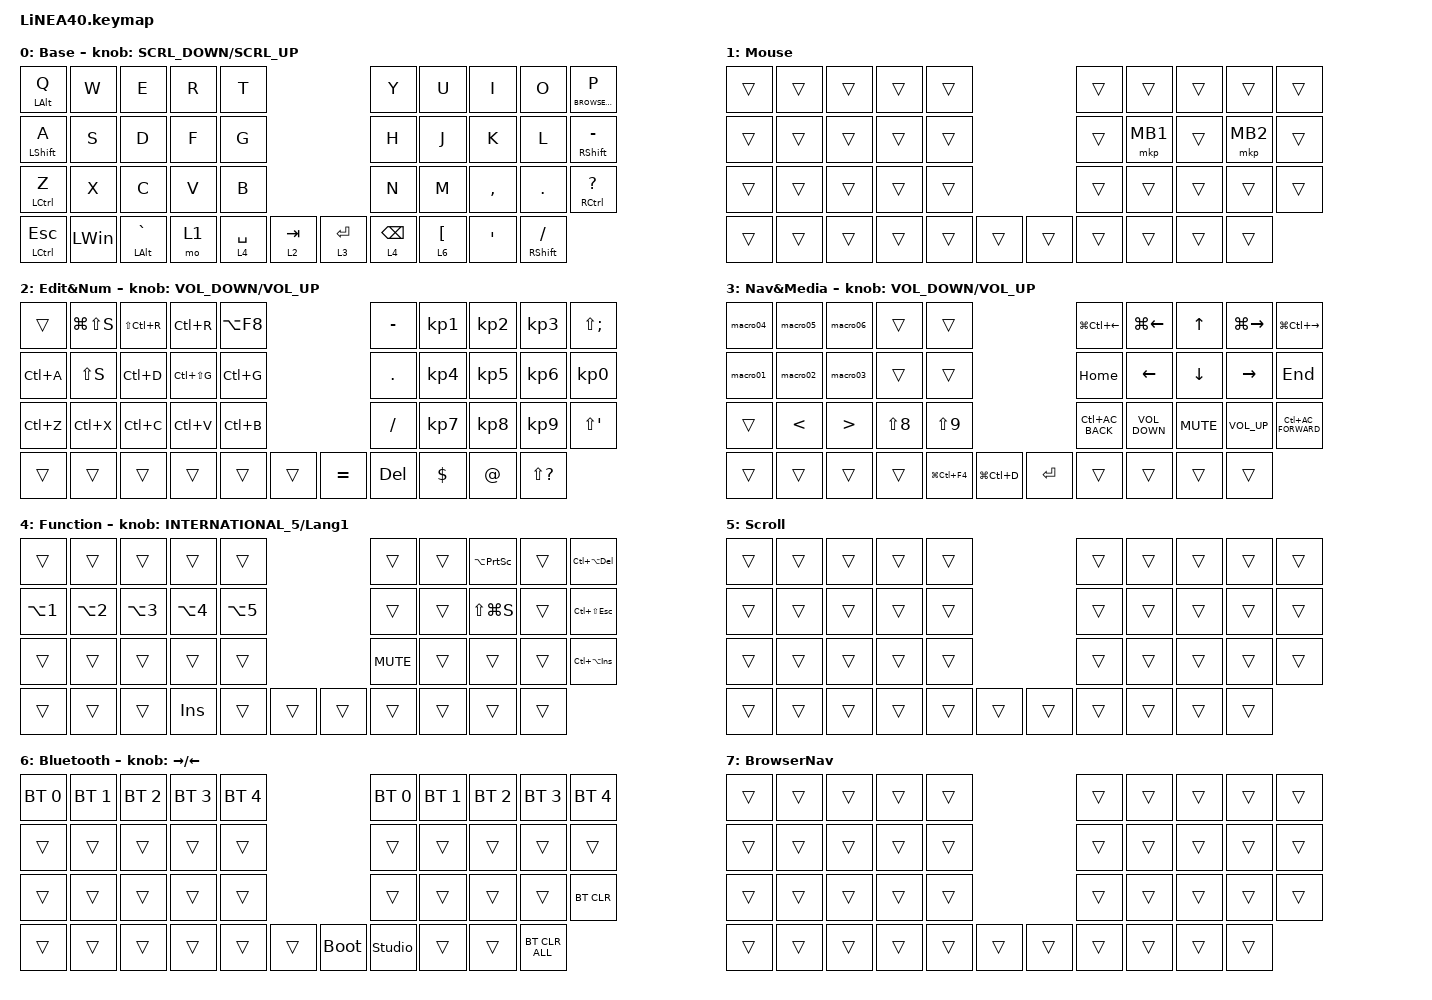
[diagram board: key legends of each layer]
#define ZMK_POINTING_DEFAULT_SCRL_VAL 150

#include <dt-bindings/zmk/input_transform.h>
#include <input/processors.dtsi>
#include <zephyr/dt-bindings/input/input-event-codes.h>
#include <behaviors.dtsi>
#include <dt-bindings/zmk/bt.h>
#include <dt-bindings/zmk/keys.h>
#include <dt-bindings/zmk/pointing.h>

#define BASE        0
#define MOUSE       1
#define MARK        2
#define CURSOR      3
#define FUNCTION    4
#define SCROLL      5
#define WIRELESS    6
#define BROWSER_NAV 7

// ─────────────────────────────────────────────────────────────
// キー番号メモ（positional hold-tap で使用）
// 左手:  0  1  2  3  4 / 10 11 12 13 14 / 20 21 22 23 24 / 30 31 32 33 34 35
// 右手:  5  6  7  8  9 / 15 16 17 18 19 / 25 26 27 28 29 / 36 37 38 39 40
// ─────────────────────────────────────────────────────────────
//mouse cursor

&mmv {
    delay-ms = <20>;
    trigger-period-ms = <5>;
    time-to-max-speed-ms = <100>;
    acceleration-exponent = <2>;
};

//mouse scroll

&msc {
    delay-ms = <3>;
    trigger-period-ms = <3>;
    time-to-max-speed-ms = <100>;
    acceleration-exponent = <0>;
};

//mod-tap (グローバル設定。実際の左右ホームロウは下の hrml / hrmr を使用)

&mt {
    flavor = "tap-preferred";
    tapping-term-ms = <200>;
    quick-tap-ms = <175>;
    require-prior-idle-ms = <200>;   // 150 → 200 に強化（誤 hold 抑制）
};

//layer-tap (親指キー Space/Tab/Enter/BS/[) ───────────────────
//  【方針変更】以前は誤発火防止のため tap-preferred + 長め tapping-term
//  にしていたが、その結果「親指でレイヤーに入れない（タップが送られる）」
//  という逆の問題が出ていた。
//  → hold-preferred に変更し、他キーが押された瞬間にレイヤーが確定
//    するようにする。tapping-term も短くしてホールド判定を高速化。
//  ※暴発が再発する場合は flavor を "balanced" に戻すと中間挙動になる。

&lt {
    flavor = "hold-preferred";       // tap-preferred → hold-preferred（レイヤー優先）
    tapping-term-ms = <200>;         // 300 → 200（ホールド判定を早める）
    quick-tap-ms = <150>;            // 300 → 150（連打タップは許容）
    require-prior-idle-ms = <0>;     // 300 → 0（直前に入力があってもホールド可）
};

/ {
    input_processors {
        zip_wheel_scaler: zip_wheel_scaler {
            compatible = "zmk,input-processor-scaler";
            #input-processor-cells = <2>;
            type = <INPUT_EV_REL>;
            codes = <INPUT_REL_WHEEL>;
            track-remainders;
        };
    };
};

&msc_input_listener {
    speed_up {
        layers = <FUNCTION>;
        input-processors = <&zip_wheel_scaler 3 1>; //スクロールを3倍速にする
    };
};

&trackball_listener {
    scroller {
        layers = <SCROLL>;
        input-processors =
            <&zip_xy_transform INPUT_TRANSFORM_Y_INVERT>,
            //スクロール方向を逆転,,,,,
            <&zip_xy_to_scroll_mapper>;
    };

    // P を長押し中だけ有効化されるブラウザ「戻る／進む」レイヤー
    //   X 軸（左右） → 水平ホイールに変換 → ブラウザの戻る/進むに割り当てられる
    //   Y 軸（上下） → ゼロ倍率で無効化（誤動作防止）

    browser_nav {
        layers = <BROWSER_NAV>;
        input-processors = <&zip_y_scaler 0 1>, <&zip_xy_to_scroll_mapper>;
    };
};

/ {
    combos {
        compatible = "zmk,combos";

        // ZenkakuHankaku (TAB + ENTER 親指同時押し → 半角/全角)
        //   親指の同時押しはタイミングが揃いにくいので 75ms に広げる。
        //   IME 変換中の TAB→ENTER 連続入力にも影響しないよう
        //   require-prior-idle-ms は付けない。

        ZenkakuHankaku {
            timeout-ms = <100>;
            bindings = <&kp GRAVE>;
            key-positions = <36 35>;
        };

        // DeleteKey (DEL = 前方向削除)
        //   J(16)+K(17) は MOUSE レイヤーの中クリック(MB3)コンボと位置が重なる。
        //   layers = <BASE MARK CURSOR FUNCTION SCROLL WIRELESS BROWSER_NAV>
        //   で MOUSE レイヤーを除外し、MOUSE 時は CenterClick 側だけが発火する
        //   ように切り分けている。

        DeleteKey {
            timeout-ms = <150>;
            bindings = <&kp DEL>;
            key-positions = <16 17>;
            layers = <BASE MARK CURSOR FUNCTION SCROLL WIRELESS BROWSER_NAV>;
        };

        scroll_combo {
            timeout-ms = <100>;
            key-positions = <18 19>;
            bindings = <&mo SCROLL>;
            slow-release;
        };

        // ===== トラックボール用クリックコンボ (MOUSE レイヤー専用) =====
        //   layers = <MOUSE> でデフォルトレイヤーでは絶対に発火しない
        //     → "him,", ",.", "jk" 等の通常タイピングで誤爆ゼロ
        //   require-prior-idle-ms = <0> でトラックボール移動中でも発火可能
        //   slow-release でキーを離すまでボタン押下を維持 → ドラッグ対応

        CenterClick {
            bindings = <&mkp MB3>;
            key-positions = <16 17>;          // J + K
            layers = <MOUSE>;
            timeout-ms = <50>;
            require-prior-idle-ms = <0>;
            slow-release;
        };

        // M + , (左寄り) = 戻る (MB4)
        //   ブラウザの戻るボタンの慣例的な左側配置に合わせている

        PrevClick {
            bindings = <&mkp MB4>;
            key-positions = <26 27>;          // M + ,
            layers = <MOUSE>;
            timeout-ms = <50>;
            require-prior-idle-ms = <0>;
            slow-release;
        };

        // , + . (右寄り) = 進む (MB5)

        ClickNext {
            bindings = <&mkp MB5>;
            key-positions = <27 28>;          // , + .
            layers = <MOUSE>;
            timeout-ms = <50>;
            require-prior-idle-ms = <0>;
            slow-release;
        };
    };

    behaviors {
        re_kp: sensor_rotate_kp {
            compatible = "zmk,behavior-sensor-rotate-var";
            #sensor-binding-cells = <2>;
            bindings = <&kp>, <&kp>;
        };

        mouse_scrl: mouse_wheel_scrl {
            compatible = "zmk,behavior-sensor-rotate-var";
            #sensor-binding-cells = <2>;
            bindings = <&msc>, <&msc>;

            tap-ms = <20>;
        };

        // ──────────────────────────────────────────────────────────
        // 左手ホームロウモッド (Q=LAlt / A=LShift / Z=LCtrl 等)
        // hold が成立するのは「右手のキーが押されたとき」だけ
        //   → 同手ロール (例: za, qw, az) で Ctrl/Shift/Alt が暴発しない
        // ──────────────────────────────────────────────────────────

        hrml: home_row_mod_left {
            compatible = "zmk,behavior-hold-tap";
            #binding-cells = <2>;
            flavor = "tap-preferred";
            tapping-term-ms = <250>;
            quick-tap-ms = <200>;
            require-prior-idle-ms = <200>;
            hold-trigger-key-positions = <5 6 7 8 9 15 16 17 18 19 25 26 27 28 29 36 37 38 39 40>;
            hold-trigger-on-release;
            bindings = <&kp>, <&kp>;
        };

        // 右手ホームロウモッド (P / - / ? / / 等) — 反対側 (左手) で hold 成立

        hrmr: home_row_mod_right {
            compatible = "zmk,behavior-hold-tap";
            #binding-cells = <2>;
            flavor = "tap-preferred";
            tapping-term-ms = <250>;
            quick-tap-ms = <200>;
            require-prior-idle-ms = <200>;
            hold-trigger-key-positions = <0 1 2 3 4 10 11 12 13 14 20 21 22 23 24 30 31 32 33 34 35>;
            hold-trigger-on-release;
            bindings = <&kp>, <&kp>;
        };

        // P 専用 hold-tap（修正版）：
        //   旧設定は flavor = "hold-preferred" + tapping-term 150ms で
        //   Romaji 入力中の "p" がわずかでも滞留すると BROWSER_NAV が走り、
        //   その後トラックボールに触れるとブラウザが戻る/進む → 入力位置が飛ぶ。
        //   tap-preferred + tapping-term 250ms + require-prior-idle 175ms に
        //   変更して、明示的に長押ししたときだけナビレイヤーが起動するようにする。

        pnav: p_nav_holdtap {
            compatible = "zmk,behavior-hold-tap";
            #binding-cells = <2>;
            flavor = "tap-preferred";
            tapping-term-ms = <250>;
            quick-tap-ms = <175>;
            require-prior-idle-ms = <175>;
            bindings = <&mo>, <&kp>;
        };
    };

    macros {
        macro01: macro01 {
            compatible = "zmk,behavior-macro";
            #binding-cells = <0>;
            bindings = <&kp LS(I) &kp LS(Q) &kp LS(V) &kp LS(I) &kp LS(A)>;
            label = "MACRO01";
        };

        macro02: macro02 {
            compatible = "zmk,behavior-macro";
            #binding-cells = <0>;
            bindings = <&kp LS(C) &kp LS(S) &kp LS(M) &kp LS(S)>;
            label = "MACRO02";
        };

        macro03: macro03 {
            compatible = "zmk,behavior-macro";
            #binding-cells = <0>;
            bindings = <&kp LS(M) &kp E &kp D &kp LS(T) &kp E &kp C &kp H &kp KP_NUMBER_2>;
            label = "MACRO03";
        };

        macro04: macro04 {
            compatible = "zmk,behavior-macro";
            #binding-cells = <0>;
            bindings = <&kp LS(A) &kp LS(S) &kp SPACE &kp LS(C) &kp O &kp N &kp N &kp E &kp C &kp T>;
            label = "MACRO04";
        };

        macro05: macro05 {
            compatible = "zmk,behavior-macro";
            #binding-cells = <0>;
            bindings = <&kp LS(S) &kp LS(H) &kp LS(D) &kp SPACE &kp LS(E) &kp C &kp H &kp O &kp SPACE &kp LS(L) &kp A &kp B &kp DOT>;
            label = "MACRO05";
        };

        macro06: macro06 {
            compatible = "zmk,behavior-macro";
            #binding-cells = <0>;
            bindings = <&kp KP_NUMBER_1 &kp O &kp N &kp KP_NUMBER_1>;
            label = "MACRO06";
        };
    };

    keymap {
        compatible = "zmk,keymap";

        // 0: ベースレイヤー
        //   左親指 4 (位置 33) を &kp DEL → &mo 1 に変更し、MOUSE レイヤーを
        //   手動で呼び出せるようにした (左親指を押している間のみ有効)。
        //   DEL は MARK レイヤーの位置 37 や DeleteKey コンボ (J+K) で代用可能。

        default_layer {
            display-name = "Base";
            bindings = <
&hrml LEFT_ALT Q      &kp W         &kp E                 &kp R    &kp T                                  &kp Y            &kp U  &kp I               &kp O    &pnav BROWSER_NAV P
&hrml LEFT_SHIFT A    &kp S         &kp D                 &kp F    &kp G                                  &kp H            &kp J  &kp K               &kp L    &hrmr RIGHT_SHIFT MINUS
&hrml LEFT_CONTROL Z  &kp X         &kp C                 &kp V    &kp B                                  &kp N            &kp M  &kp COMMA           &kp DOT  &hrmr RIGHT_CONTROL QMARK
&hrml LCTRL ESC       &kp LEFT_WIN  &hrml LEFT_ALT GRAVE  &mo 1    &lt 4 SPACE  &lt 2 TAB    &lt 3 ENTER  &lt 4 BACKSPACE         &lt 6 LEFT_BRACKET  &kp SQT  &hrmr RIGHT_SHIFT SLASH
            >;

            sensor-bindings = <&mouse_scrl SCRL_DOWN SCRL_UP>;
        };

        // 1: マウスクリック
        //   左親指の &mo 1 を押している間だけ MOUSE レイヤーが有効
        //   J 単体 = 左クリック (MB1), L 単体 = 右クリック (MB2)
        //   J+K = 中クリック (MB3), M+, = 戻る (MB4), ,+. = 進む (MB5)
        //
        //   【auto-mouse-layer との関係】
        //   シールド側で auto-mouse-layer (トラックボール動作で自動 ON) を
        //   有効にしている場合、手のひらがトラックボールに触れた瞬間に
        //   このレイヤーが ON → J/L が押されると誤クリックする可能性あり。
        //   その挙動が問題になる場合は auto-mouse-layer を無効化 (シールドの
        //   .conf で CONFIG_ZMK_POINTING_DEFAULT_MOUSE_LAYER 関連、または
        //   shield overlay の auto-layer 設定) し、&mo 1 の手動切替だけで
        //   運用する設計に統一することを推奨。

        MOUSE {
            display-name = "Mouse";
            bindings = <
&trans  &trans  &trans  &trans  &trans                    &trans  &trans     &trans  &trans     &trans
&trans  &trans  &trans  &trans  &trans                    &trans  &mkp MB1   &trans  &mkp MB2   &trans
&trans  &trans  &trans  &trans  &trans                    &trans  &trans     &trans  &trans     &trans
&trans  &trans  &trans  &trans  &trans  &trans    &trans  &trans             &trans  &trans     &trans
            >;
        };

        // 2: 編集 / 数字

        MARK {
            display-name = "Edit&Num";
            bindings = <
&trans     &kp LG(LS(S))  &kp LS(LC(R))  &kp LC(R)      &kp LA(F8)                       &kp MINUS  &kp KP_NUMBER_1  &kp KP_NUMBER_2  &kp KP_NUMBER_3  &kp LS(SEMI)
&kp LC(A)  &kp LS(S)      &kp LC(D)      &kp LC(LS(G))  &kp LC(G)                        &kp DOT    &kp KP_NUMBER_4  &kp KP_NUMBER_5  &kp KP_NUMBER_6  &kp KP_NUMBER_0
&kp LC(Z)  &kp LC(X)      &kp LC(C)      &kp LC(V)      &kp LC(B)                        &kp SLASH  &kp KP_NUMBER_7  &kp KP_NUMBER_8  &kp KP_NUMBER_9  &kp LS(SQT)
&trans     &trans         &trans         &trans         &trans      &trans    &kp EQUAL  &kp DEL                     &kp DOLLAR       &kp AT           &kp LS(QUESTION)
            >;

            sensor-bindings = <&re_kp C_VOLUME_DOWN C_VOLUME_UP>;
        };

        // 3: カーソル / メディア / マクロ

        CURSOR {
            display-name = "Nav&Media";
            bindings = <
&macro04  &macro05       &macro06          &trans      &trans                                      &kp LG(LC(LEFT_ARROW))  &kp LG(LEFT_ARROW)  &kp UP_ARROW    &kp LG(RIGHT_ARROW)  &kp LG(LC(RIGHT))
&macro01  &macro02       &macro03          &trans      &trans                                      &kp HOME                &kp LEFT_ARROW      &kp DOWN_ARROW  &kp RIGHT_ARROW      &kp END
&trans    &kp LESS_THAN  &kp GREATER_THAN  &kp LS(N8)  &kp LS(N9)                                  &kp LC(C_AC_BACK)       &kp C_VOLUME_DOWN   &kp C_MUTE      &kp C_VOLUME_UP      &kp LC(C_AC_FORWARD)
&trans    &trans         &trans            &trans      &kp LG(LC(F4))  &kp LG(LC(D))    &kp ENTER  &trans                                      &trans          &trans               &trans
            >;

            sensor-bindings = <&inc_dec_kp C_VOLUME_DOWN C_VOLUME_UP>;
        };

        // 4: ファンクション

        FUNCTION {
            display-name = "Function";
            bindings = <
&trans            &trans            &trans            &trans            &trans                              &trans      &trans  &kp LA(PRINTSCREEN)  &trans  &kp LC(LA(DELETE))
&kp LA(NUMBER_1)  &kp LA(NUMBER_2)  &kp LA(NUMBER_3)  &kp LA(NUMBER_4)  &kp LA(NUMBER_5)                    &trans      &trans  &kp LS(LG(S))        &trans  &kp LC(LS(ESCAPE))
&trans            &trans            &trans            &trans            &trans                              &kp C_MUTE  &trans  &trans               &trans  &kp LC(LA(INS))
&trans            &trans            &trans            &kp INS           &trans            &trans    &trans  &trans              &trans               &trans  &trans
            >;

            sensor-bindings = <&re_kp INTERNATIONAL_5 LANGUAGE_1>;
        };

        // 5: スクロール（トラックボール → スクロール）

        SCROLL {
            display-name = "Scroll";
            bindings = <
&trans  &trans  &trans  &trans  &trans                    &trans  &trans  &trans  &trans  &trans
&trans  &trans  &trans  &trans  &trans                    &trans  &trans  &trans  &trans  &trans
&trans  &trans  &trans  &trans  &trans                    &trans  &trans  &trans  &trans  &trans
&trans  &trans  &trans  &trans  &trans  &trans    &trans  &trans          &trans  &trans  &trans
            >;
        };

        // 6: Bluetooth / システム

        WIRELESS {
            display-name = "Bluetooth";
            bindings = <
&bt BT_SEL 0  &bt BT_SEL 1  &bt BT_SEL 2  &bt BT_SEL 3  &bt BT_SEL 4                         &bt BT_SEL 0    &bt BT_SEL 1  &bt BT_SEL 2  &bt BT_SEL 3  &bt BT_SEL 4
&trans        &trans        &trans        &trans        &trans                               &trans          &trans        &trans        &trans        &trans
&trans        &trans        &trans        &trans        &trans                               &trans          &trans        &trans        &trans        &bt BT_CLR
&trans        &trans        &trans        &trans        &trans        &trans    &bootloader  &studio_unlock                &trans        &trans        &bt BT_CLR_ALL
            >;

            sensor-bindings = <&inc_dec_kp RIGHT_ARROW LEFT_ARROW>;
        };

        // 7: ブラウザ「戻る／進む」（P 長押し中のみ有効）
        //    トラックボールを左へ動かすと「戻る」、右へ動かすと「進む」

        BROWSER_NAV {
            display-name = "BrowserNav";
            bindings = <
&trans  &trans  &trans  &trans  &trans                    &trans  &trans  &trans  &trans  &trans
&trans  &trans  &trans  &trans  &trans                    &trans  &trans  &trans  &trans  &trans
&trans  &trans  &trans  &trans  &trans                    &trans  &trans  &trans  &trans  &trans
&trans  &trans  &trans  &trans  &trans  &trans    &trans  &trans          &trans  &trans  &trans
            >;
        };
    };
};
